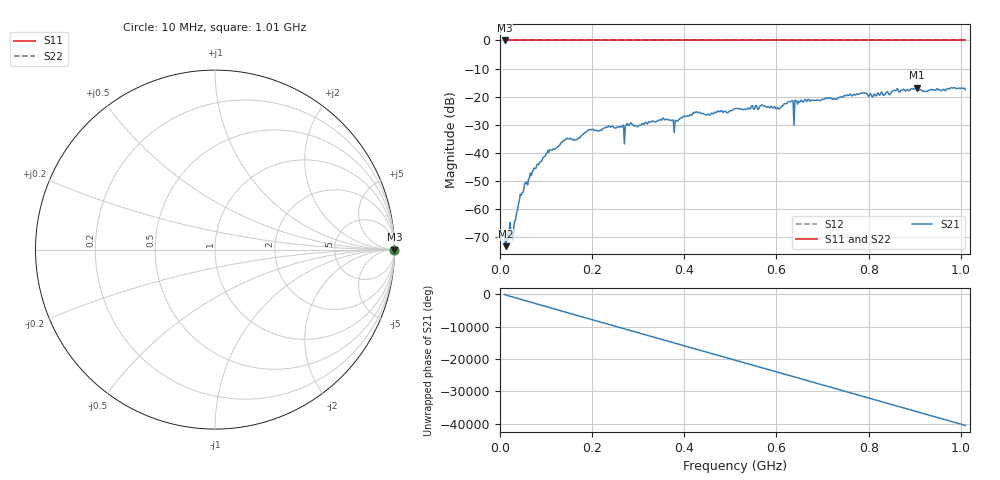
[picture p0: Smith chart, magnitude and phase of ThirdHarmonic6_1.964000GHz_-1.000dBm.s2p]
! 8/16/2025 11:38:14 PM
! C:\ANRITSUVNA\TEMP\TEMP.S2P
! CHANNEL.1
! TR.MEASUREMENT
! RAW.DATA
! RF.CORRECTION.OFF
! AVERAGING.OFF
! IF.BANDWIDTH: 5KHZ
! SWEEPTYPE:  FREQ.SWEEP(Linear)
! Reference Plane Port Info
! PORT:  PORT1  PORT2
! DISTANCE:  0  m  0  m
! TIME:  0  s  0  s
! PHASE.OFFSET:  0  deg.  0  deg.
! LOSS:  0  dB  0  dB
! REF.LOSS:  0  dB  0  dB
! REF.FREQ:  0  Hz  0  Hz
! Power Info
! POWER:  -20  dBm  -20  dBm
! EFF.POWER:  -20  dBm  -20  dBm
! SOURCE.ATTEN:  0  dB  0  dB
! TEST.ATTEN:  0  dB  0  dB
# GHZ S RI R 50.0
! FREQ.GHZ  S11RE  S11IM  S21RE  S21IM  S12RE  S12IM  S22RE  S22IM
!; PortSelection: Port_12
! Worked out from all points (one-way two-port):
!   501 points, 10 MHz to 1.01 GHz, reference 50 ohm
!   highest |S21| = -16.79 dB at 904 MHz (marker M1); lowest = -73.1 dB at 12 MHz (marker M2)
!   lowest |S11| = 0.0 dB at 10 MHz (marker M3)
!   |S11| at or under -10 dB: nowhere
!   |S22| runs from 0.0 to 0.0 dB; largest |S21 - S12| = 1.1
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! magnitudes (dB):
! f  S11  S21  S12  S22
! 10 MHz  0.0  -69.0  0.0  0.0
! 12 MHz  0.0  -73.1  0.0  0.0
! 28 MHz  0.0  -71.0  0.0  0.0
! 44 MHz  0.0  -54.7  0.0  0.0
! 76 MHz  0.0  -45.5  0.0  0.0
! 142 MHz  0.0  -35.3  0.0  0.0
! 178 MHz  0.0  -33.7  0.0  0.0
! 196 MHz  0.0  -31.7  0.0  0.0
! 268 MHz  0.0  -30.1  0.0  0.0
! 280 MHz  0.0  -30.2  0.0  0.0
! 344 MHz  0.0  -28.5  0.0  0.0
! 382 MHz  0.0  -28.4  0.0  0.0
! 424 MHz  0.0  -25.6  0.0  0.0
! 510 MHz  0.0  -24.2  0.0  0.0
! 604 MHz  0.0  -24.1  0.0  0.0
! 630 MHz  0.0  -21.8  0.0  0.0
! 642 MHz  0.0  -21.4  0.0  0.0
! 644 MHz  0.0  -21.6  0.0  0.0
! 678 MHz  0.0  -21.3  0.0  0.0
! 844 MHz  0.0  -19.2  0.0  0.0
! 904 MHz  0.0  -16.8  0.0  0.0
! 1.01 GHz  0.0  -17.5  0.0  0.0
